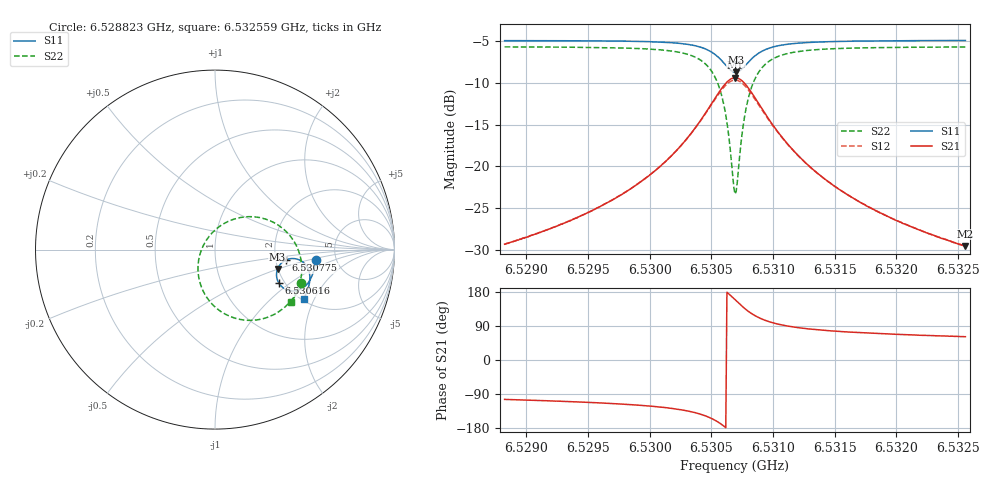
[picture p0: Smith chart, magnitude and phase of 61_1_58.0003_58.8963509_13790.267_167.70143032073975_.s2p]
#  HZ  S  RI  R  50.00
! Rohde & Schwarz Vector Network Analyzer
! Rohde-Schwarz,ZNB20-2Port,1311601062101988,3.16
! Created: UTC 3/21/2024, 12:52:59 AM
! freq[Hz]  re:S11  im:S11  re:S21  im:S21  re:S12  im:S12  re:S22  im:S22
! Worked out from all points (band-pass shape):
!   401 points, 6.528823 GHz to 6.532559 GHz, reference 50 ohm
!   highest |S21| = -9.41 dB at 6.530691 GHz (marker M1); lowest = -29.5 dB at 6.532559 GHz (marker M2)
!   |S21| within 3 dB of the highest: 6.530505 GHz to 6.530879 GHz (374.1 kHz wide, 0.00573 % of centre)
!   lowest |S11| = -8.8 dB at 6.5307 GHz (marker M3), VSWR 2.15, Z = 99.4 - j24.7 ohm
!   |S11| at or under -10 dB: nowhere
!   |S22| runs from -23.3 to -5.7 dB; largest |S21 - S12| = 0.014
!   S11 on the Smith chart (normalised r, x): 6.528823 GHz: 3.48, -0.59; 6.530616 GHz: 1.86, -0.83; 6.530775 GHz: 2.29, -0.31; 6.532559 GHz: 2.05, -1.66
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6.5288232e9  0.5608 -0.0579  -0.00828 -0.0333  -0.00895 -0.0332  0.4817 -0.1888
6.5294489e9  0.5513 -0.112  -0.0184 -0.0475  -0.0196 -0.0472  0.449 -0.2508
6.5297851e9  0.5408 -0.145  -0.0307 -0.0617  -0.0326 -0.0609  0.4162 -0.2938
6.5300746e9  0.5235 -0.1791  -0.0548 -0.0819  -0.0574 -0.0804  0.3616 -0.3417
6.5302988e9  0.4937 -0.2109  -0.1013 -0.1049  -0.1045 -0.1012  0.2682 -0.3848
6.5304576e9  0.4447 -0.2304  -0.1797 -0.1115  -0.1822 -0.1035  0.1247 -0.3856
6.530551e9  0.3941 -0.2216  -0.2588 -0.0782  -0.257 -0.0667  -0.00616 -0.3136
6.5306163e9  0.3563 -0.1875  -0.3136 -0.00789  -0.3057 0.00357  -0.0838 -0.1842
6.5306444e9  0.3459 -0.1636  -0.3257 0.0369  -0.3152 0.0465  -0.0948 -0.1077
6.5306724e9  0.343 -0.136  -0.3253 0.0867  -0.3127 0.0933  -0.0838 -0.026
6.5306911e9  0.3457 -0.1171  -0.3165 0.12  -0.3035 0.1239  -0.0631 0.0266
6.5307004e9  0.3486 -0.1078  -0.3098 0.1359  -0.2968 0.1385  -0.0489 0.051
6.5307097e9  0.3525 -0.0993  -0.3015 0.1509  -0.2885 0.1525  -0.0325 0.074
6.5307471e9  0.3756 -0.0704  -0.2567 0.1995  -0.2456 0.1972  0.05 0.1451
6.5307751e9  0.3973 -0.0571  -0.2167 0.2212  -0.208 0.2175  0.1198 0.1737
6.5308405e9  0.4465 -0.0507  -0.1304 0.2312  -0.1261 0.2273  0.2657 0.1744
6.5309339e9  0.492 -0.0711  -0.0532 0.2003  -0.0513 0.198  0.3916 0.1052
6.531074e9  0.5197 -0.1086  -0.00582 0.1488  -0.00457 0.1479  0.4628 0.000372
6.5313168e9  0.5289 -0.1551  0.0149 0.0957  0.0161 0.0953  0.4835 -0.1098
6.5316157e9  0.5246 -0.1937  0.0186 0.0642  0.0197 0.0641  0.4743 -0.1825
6.5319425e9  0.5154 -0.2257  0.0182 0.0463  0.019 0.046  0.4581 -0.2316
6.532559e9  0.4938 -0.2751  0.016 0.0294  0.0165 0.0291  0.4261 -0.2924
